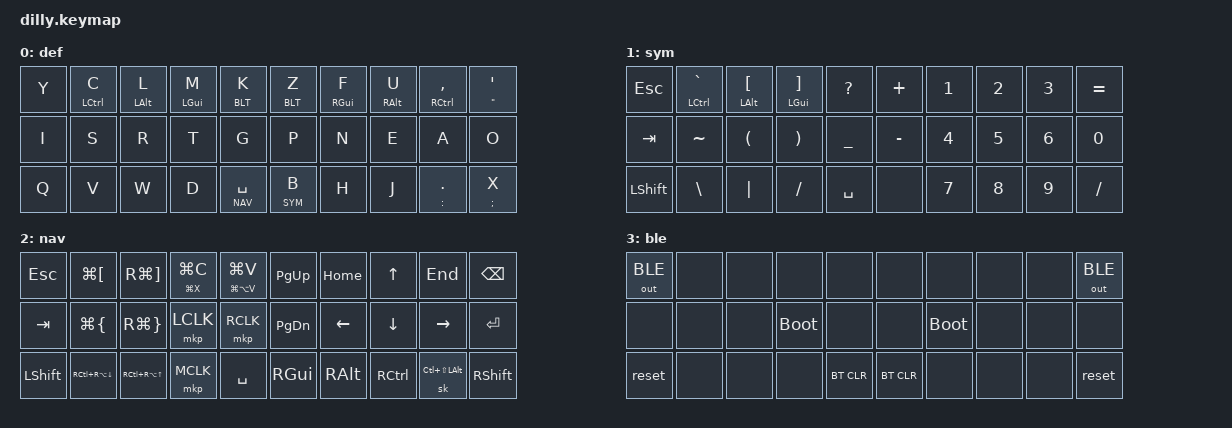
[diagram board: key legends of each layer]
#include <behaviors.dtsi>
#include <dt-bindings/zmk/keys.h>
#include <dt-bindings/zmk/bt.h>
#include <dt-bindings/zmk/outputs.h>
#include <dt-bindings/zmk/mouse.h>

&mt {
    tapping-term-ms = <250>;
    flavor = "tap-preferred";
};
&sk {
     release-after-ms = <2000>;
     quick-release;
};
&caps_word {
    continue-list = <UNDERSCORE BACKSPACE DELETE MINUS>;
};

/* Layers */
#define DEF 0
#define SYM 1
#define NAV 2	
#define BLT 3
/ { 
    combos {
        compatible = "zmk,combos";
        combo_rpt     { timeout-ms = <175>; key-positions = <27 28>; bindings = <&key_repeat>; };
        combo_caps    { timeout-ms = <175>; key-positions = <4 5>; bindings = <&caps_word>; };
        combo_shft_l  { timeout-ms = <175>; key-positions = <13 14>; bindings = <&sk LSHFT>; };
        combo_shft_r  { timeout-ms = <175>; key-positions = <15 16>; bindings = <&sk LSHFT>; };
        combo_star    { timeout-ms = <175>; key-positions = <5 15>; bindings = <&kp STAR>; layers = <SYM>; };
        combo_dot     { timeout-ms = <175>; key-positions = <16 17>; bindings = <&kp DOT>; layers = <SYM>; };
        combo_comma   { timeout-ms = <175>; key-positions = <17 18>; bindings = <&kp COMMA>; layers = <SYM>; };
        combo_numlock { timeout-ms = <175>; key-positions = <13 23>; bindings = <&kp KP_NUM>; layers = <NAV>; };
        combo_bspc_l  { timeout-ms = <175>; key-positions = <3 14>; bindings = <&kp BSPC>; };
        combo_bspc_r  { timeout-ms = <175>; key-positions = <6 15>; bindings = <&kp BSPC>; };
        combo_del_l   { timeout-ms = <175>; key-positions = <4 13>; bindings = <&kp DEL>; };
        combo_del_r   { timeout-ms = <175>; key-positions = <5 16>; bindings = <&kp DEL>; };
        combo_entr_l  { timeout-ms = <175>; key-positions = <22 23>; bindings = <&kp RETURN>; };
        combo_entr_r  { timeout-ms = <175>; key-positions = <26 27>; bindings = <&kp RETURN>; };
        combo_esc_l   { timeout-ms = <175>; key-positions = <3 13>; bindings = <&kp ESC>; };
        combo_esc_r   { timeout-ms = <175>; key-positions = <6 16>; bindings = <&kp ESC>; };
        combo_NAV_l   { timeout-ms = <175>; key-positions = <1 2 3>; bindings = <&tog NAV>; };
        combo_NAV_r   { timeout-ms = <175>; key-positions = <6 7 8>; bindings = <&tog NAV>; };
        combo_tab_l   { timeout-ms = <175>; key-positions = <2 3 10>; bindings = <&kp TAB>; };
        combo_tab_r   { timeout-ms = <175>; key-positions = <6 7 19>; bindings = <&kp TAB>; };
        combo_meh_r   { timeout-ms = <175>; key-positions = <21 22 23>; bindings = <&sk LC(LS(LALT))>; };
        combo_meh_l   { timeout-ms = <175>; key-positions = <26 27 28>; bindings = <&sk LC(LS(LALT))>; };
    };

    behaviors {
        mod: mods {
            compatible = "zmk,behavior-hold-tap";
            label = "MODS_L";
            #binding-cells = <2>;
            tapping-term-ms = <300>;
            quick-tap-ms = <250>;
            flavor = "tap-preferred";
            bindings = <&kp>, <&kp>;
        };
        lyr: layers {
            compatible = "zmk,behavior-hold-tap";
            label = "LAYERS_R";
            #binding-cells = <2>;
            tapping-term-ms = <220>;
            quick-tap-ms = <250>;
            flavor = "tap-preferred";
            bindings = <&mo>, <&kp>;
        };
        td: tapdance {
            compatible = "zmk,behavior-hold-tap";
            label = "TAPDANCE";
            #binding-cells = <2>;
            tapping-term-ms = <190>;
            quick-tap-ms = <250>;
            flavor = "tap-preferred";
            bindings = <&kp>, <&kp>;
        };
    };

    //      00  01  02  03  04      05  06  07  08  09
    //      10  11  12  13  14      15  16  17  18  19
    //      20  21  22  23  24      25  26  27  28  29

    keymap {
        compatible = "zmk,keymap";

        def {
            bindings = <
            &kp Y  &mod LCTL C  &mod LALT L  &mod LGUI M  &lyr BLT K    /**/  &lyr BLT Z  &mod RGUI F  &mod RALT U  &mod RCTL COMMA  &td DQT SQT
            &kp I  &kp S        &kp R        &kp T        &kp G         /**/  &kp P       &kp N        &kp E        &kp A            &kp O
            &kp Q  &kp V        &kp W        &kp D        &lyr NAV SPC  /**/  &lyr SYM B  &kp H        &kp J        &td COLON DOT    &td SEMI X
            >;
        };

        sym {
            bindings = <
            &kp ESC    &mod LCTL GRAVE  &mod LALT LBKT  &mod LGUI RBKT  &kp QMARK  /**/  &kp PLUS   &kp N1  &kp N2  &kp N3  &kp EQUAL
            &kp TAB    &kp TILDE        &kp LPAR        &kp RPAR        &kp UNDER  /**/  &kp MINUS  &kp N4  &kp N5  &kp N6  &kp N0
            &kp LSHFT  &kp BSLH         &kp PIPE        &kp FSLH        &kp SPC    /**/  &none      &kp N7  &kp N8  &kp N9  &kp FSLH
            >;
        };

        nav {
            bindings = <
            &kp ESC    &kp LG(LBKT)      &kp RG(RBKT)    &td LG(X) LG(C)  &td LG(LA(V)) LG(V)  /**/  &kp PG_UP  &kp HOME  &kp UP    &kp END           &kp BSPC
            &kp TAB    &kp LG(LBRC)      &kp RG(RBRC)    &mkp LCLK        &mkp RCLK            /**/  &kp PG_DN  &kp LEFT  &kp DOWN  &kp RIGHT         &kp RET
            &kp LSHFT  &kp RC(RA(DOWN))  &kp RC(RA(UP))  &mkp MCLK        &kp SPC              /**/  &kp RGUI   &kp RALT  &kp RCTL  &sk LC(LS(LALT))  &kp RSHFT
            >;
        };

        ble {
            bindings = <
            &out OUT_BLE  &none  &none  &none        &none       /**/  &none       &none        &none  &none  &out OUT_BLE
            &none         &none  &none  &bootloader  &none       /**/  &none       &bootloader  &none  &none  &none
            &reset        &none  &none  &none        &bt BT_CLR  /**/  &bt BT_CLR  &none        &none  &none  &reset
            >;
        };

    };
};
